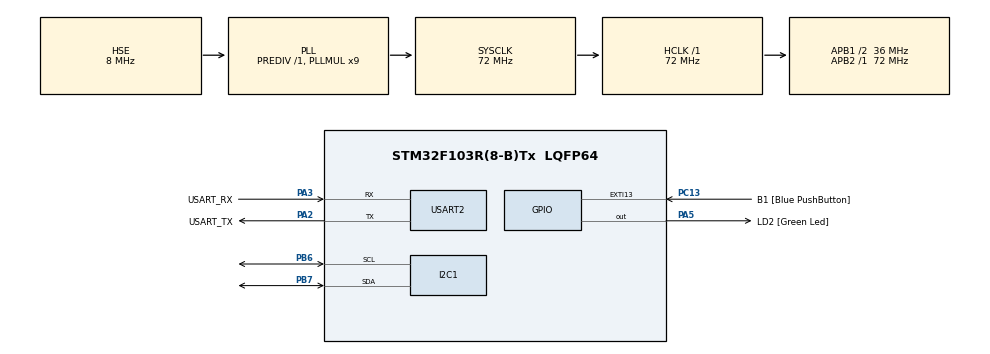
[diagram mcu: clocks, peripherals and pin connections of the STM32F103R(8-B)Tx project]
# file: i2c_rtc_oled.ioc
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I2C1.I2C_Mode=I2C_Fast
Mcu.Family=STM32F1
Mcu.Name=STM32F103R(8-B)Tx
Mcu.Package=LQFP64
NVIC.EXTI15_10_IRQn=true\:0\:0\:false\:false\:true\:true\:true\:true
NVIC.PriorityGroup=NVIC_PRIORITYGROUP_4
PA13.GPIO_Label=TMS
PA13.Mode=Serial_Wire
PA13.Signal=SYS_JTMS-SWDIO
PA14.GPIO_Label=TCK
PA14.Mode=Serial_Wire
PA14.Signal=SYS_JTCK-SWCLK
PA2.GPIO_Label=USART_TX
PA2.GPIO_Mode=GPIO_MODE_AF_PP
PA2.GPIO_PuPd=GPIO_NOPULL
PA2.GPIO_Speed=GPIO_SPEED_FREQ_LOW
PA2.Mode=Asynchronous
PA2.Signal=USART2_TX
PA3.GPIO_Label=USART_RX
PA3.GPIO_Mode=GPIO_MODE_AF_PP
PA3.GPIO_PuPd=GPIO_NOPULL
PA3.GPIO_Speed=GPIO_SPEED_FREQ_LOW
PA3.Mode=Asynchronous
PA3.Signal=USART2_RX
PA5.GPIO_Label=LD2 [Green Led]
PA5.GPIO_ModeDefaultOutputPP=GPIO_MODE_OUTPUT_PP
PA5.GPIO_PuPd=GPIO_NOPULL
PA5.GPIO_Speed=GPIO_SPEED_FREQ_LOW
PA5.Signal=GPIO_Output
PB3.GPIO_Label=SWO
PB3.Signal=SYS_JTDO-TRACESWO
PB6.Mode=I2C
PB6.Signal=I2C1_SCL
PB7.Mode=I2C
PB7.Signal=I2C1_SDA
PC13-TAMPER-RTC.GPIO_Label=B1 [Blue PushButton]
PC13-TAMPER-RTC.GPIO_PuPd=GPIO_NOPULL
PC13-TAMPER-RTC.Signal=GPXTI13
PC14-OSC32_IN.Mode=LSE-External-Oscillator
PC14-OSC32_IN.Signal=RCC_OSC32_IN
PC15-OSC32_OUT.Mode=LSE-External-Oscillator
PC15-OSC32_OUT.Signal=RCC_OSC32_OUT
PD0-OSC_IN.Mode=HSE-External-Clock-Source
PD0-OSC_IN.Signal=RCC_OSC_IN
PD1-OSC_OUT.Mode=HSE-External-Clock-Source
PD1-OSC_OUT.Signal=RCC_OSC_OUT
ProjectManager.HeapSize=0x200
ProjectManager.StackSize=0x400
ProjectManager.TargetToolchain=STM32CubeIDE
RCC.AHBFreq_Value=72000000
RCC.APB1CLKDivider=RCC_HCLK_DIV2
RCC.APB1Freq_Value=36000000
RCC.APB1TimFreq_Value=72000000
RCC.APB2Freq_Value=72000000
RCC.APB2TimFreq_Value=72000000
RCC.HCLKFreq_Value=72000000
RCC.PLLMUL=RCC_PLL_MUL9
RCC.PLLSourceVirtual=RCC_PLLSOURCE_HSE
RCC.RTCClockSelection=RCC_RTCCLKSOURCE_LSE
RCC.SYSCLKFreq_VALUE=72000000
RCC.SYSCLKSource=RCC_SYSCLKSOURCE_PLLCLK
RCC.USBFreq_Value=72000000
USART2.VirtualMode=VM_ASYNC
board=NUCLEO-F103RB

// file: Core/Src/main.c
/* USER CODE BEGIN Header */
/**
  ******************************************************************************
  * @file           : main.c
  * @brief          : Main program body
  ******************************************************************************
  * @attention
  *
  * Copyright (c) 2025 STMicroelectronics.
  * All rights reserved.
  *
  * This software is licensed under terms that can be found in the LICENSE file
  * in the root directory of this software component.
  * If no LICENSE file comes with this software, it is provided AS-IS.
  *
  ******************************************************************************
  */
/* USER CODE END Header */
#include "main.h"
#include "stm32f1xx_hal.h"
#include "ssd1306.h"
#include "fonts.h"
#include <stdio.h>

#define SET_RTC

#define DS3231_ADDR (0x68 << 1) // DS3231 I2C address (write/read shifted)
#define DS3231_REG_TIME 0x00    // seconds register
#define DS3231_REG_DATE 0x03    // day-of-week register

I2C_HandleTypeDef hi2c1;
UART_HandleTypeDef huart2;

/* USER CODE BEGIN PV */
// Buffer and time variables
char line1[20], line2[24];
uint8_t hour, min, sec, day, month, dow;
uint16_t year;
const char* dow_str[] = {"Sun", "Mon", "Tue", "Wed", "Thu", "Fri", "Sat"};
/* USER CODE END PV */

void SystemClock_Config(void);
static void MX_GPIO_Init(void);
static void MX_USART2_UART_Init(void);
static void MX_I2C1_Init(void);

/* USER CODE BEGIN PFP */
// Convert BCD to decimal
static uint8_t bcd2dec(uint8_t val) {
	return (uint8_t)(((val >> 4) * 10) + (val & 0x0F));
}
// Convert decimal to BCD
#ifdef SET_RTC
static uint8_t dec2bcd(uint8_t val) {
  return (uint8_t)(((val / 10) << 4) | (val % 10));
}

// Write date & time int DS3231 (one-time initialization)
static void DS3231_SetTime(uint8_t h, uint8_t m, uint8_t s) {
	uint8_t t[3] = {
			dec2bcd(s),  // Seconds
			dec2bcd(m),  // Minutes
			dec2bcd(h),  // Hours
	};
	HAL_I2C_Mem_Write(&hi2c1, DS3231_ADDR, DS3231_REG_TIME, I2C_MEMADD_SIZE_8BIT, t, 3, HAL_MAX_DELAY);
}

static void DS3231_SetDate(uint8_t W, uint8_t D, uint8_t M, uint8_t Y) {
	uint8_t d[4] = {
			dec2bcd(W),  // Day-of-week
			dec2bcd(D),  // Date
			dec2bcd(M),  // Month
			dec2bcd(Y)   // Year (00-99)
	};
	HAL_I2C_Mem_Write(&hi2c1, DS3231_ADDR, DS3231_REG_DATE, I2C_MEMADD_SIZE_8BIT, d, 4, HAL_MAX_DELAY);
}
#endif

// Read time (hh:mm:ss) from DS3231
static void DS3231_GetTime(uint8_t* h, uint8_t* m, uint8_t* s) {
	uint8_t b[3];
	if (HAL_I2C_Mem_Read(&hi2c1, DS3231_ADDR, DS3231_REG_TIME, I2C_MEMADD_SIZE_8BIT, b, 3, HAL_MAX_DELAY) == HAL_OK) {
		*s = bcd2dec(b[0] & 0x7F);
		*m = bcd2dec(b[1] & 0x7F);
		*h = bcd2dec(b[2] & 0x3F);
	} else {
		*h = *m = *s = 0;
	}
}
// Read date and day-of-week
static void DS3231_GetDate(uint8_t* D, uint8_t* M, uint16_t* Y, uint8_t* W) {
	uint8_t b[4];
	if (HAL_I2C_Mem_Read(&hi2c1, DS3231_ADDR, DS3231_REG_DATE, I2C_MEMADD_SIZE_8BIT, b, 4, HAL_MAX_DELAY) == HAL_OK) {
		*W = bcd2dec(b[0]);         // Day-of-week
		*D = bcd2dec(b[1] & 0x3F);  // Date
		*M = bcd2dec(b[2] & 0x1F);  // Month
		*Y = 2000 + bcd2dec(b[3]);  // Year
	} else {
		*W = *D = *M = 0;
		*Y = 2000;
	}
}
/* USER CODE END PFP */

int main(void)
{

  /* MCU Configuration--------------------------------------------------------*/

  /* Reset of all peripherals, Initializes the Flash interface and the Systick. */
  HAL_Init();

  /* Configure the system clock */
  SystemClock_Config();

  /* Initialize all configured peripherals */
  MX_GPIO_Init();
  MX_USART2_UART_Init();
  MX_I2C1_Init();
  /* USER CODE BEGIN 2 */
  // Initialize OLED display
  SSD1306_Init();
  /* USER CODE END 2 */
  // To set RTC once, define SET_RTC and uncomment:
#ifdef SET_RTC
  // example: 2025-08-07 17:45:30, Thursday(4)
  DS3231_SetTime(17, 45, 30);
  DS3231_SetDate(5, 7, 8, 25);
  HAL_Delay(500);
#endif
  /* Infinite loop */
  while (1)
  {
	  // Read time and date from DS3231
	  DS3231_GetTime(&hour, &min, &sec);
	  DS3231_GetDate(&day, &month, &year, &dow);

	  // Format strings for display
	  sprintf(line1, "%02d:%02d:%02d", hour, min, sec);
	  sprintf(line2, "%02d-%02d-%04d %s", day, month, year, dow_str[(dow>=1 && dow<=7)?dow-1:0]);

	  // Update OLED screen
	  SSD1306_Fill(SSD1306_COLOR_BLACK);
	  SSD1306_GotoXY(0, 0);
	  SSD1306_Puts(line1, &Font_11x18, SSD1306_COLOR_WHITE);
	  SSD1306_GotoXY(0, 24);
	  SSD1306_Puts(line2, &Font_7x10, SSD1306_COLOR_WHITE);
	  SSD1306_UpdateScreen();

	  HAL_Delay(1000);
  }
}

void SystemClock_Config(void)
{
  RCC_OscInitTypeDef RCC_OscInitStruct = {0};
  RCC_ClkInitTypeDef RCC_ClkInitStruct = {0};

  /** Initializes the RCC Oscillators according to the specified parameters
  * in the RCC_OscInitTypeDef structure.
  */
  RCC_OscInitStruct.OscillatorType = RCC_OSCILLATORTYPE_HSE;
  RCC_OscInitStruct.HSEState = RCC_HSE_BYPASS;
  RCC_OscInitStruct.HSEPredivValue = RCC_HSE_PREDIV_DIV1;
  RCC_OscInitStruct.HSIState = RCC_HSI_ON;
  RCC_OscInitStruct.PLL.PLLState = RCC_PLL_ON;
  RCC_OscInitStruct.PLL.PLLSource = RCC_PLLSOURCE_HSE;
  RCC_OscInitStruct.PLL.PLLMUL = RCC_PLL_MUL9;
  if (HAL_RCC_OscConfig(&RCC_OscInitStruct) != HAL_OK)
  {
    Error_Handler();
  }

  /** Initializes the CPU, AHB and APB buses clocks
  */
  RCC_ClkInitStruct.ClockType = RCC_CLOCKTYPE_HCLK|RCC_CLOCKTYPE_SYSCLK
                              |RCC_CLOCKTYPE_PCLK1|RCC_CLOCKTYPE_PCLK2;
  RCC_ClkInitStruct.SYSCLKSource = RCC_SYSCLKSOURCE_PLLCLK;
  RCC_ClkInitStruct.AHBCLKDivider = RCC_SYSCLK_DIV1;
  RCC_ClkInitStruct.APB1CLKDivider = RCC_HCLK_DIV2;
  RCC_ClkInitStruct.APB2CLKDivider = RCC_HCLK_DIV1;

  if (HAL_RCC_ClockConfig(&RCC_ClkInitStruct, FLASH_LATENCY_2) != HAL_OK)
  {
    Error_Handler();
  }
}

static void MX_I2C1_Init(void)
{

  hi2c1.Instance = I2C1;
  hi2c1.Init.ClockSpeed = 400000;
  hi2c1.Init.DutyCycle = I2C_DUTYCYCLE_2;
  hi2c1.Init.OwnAddress1 = 0;
  hi2c1.Init.AddressingMode = I2C_ADDRESSINGMODE_7BIT;
  hi2c1.Init.DualAddressMode = I2C_DUALADDRESS_DISABLE;
  hi2c1.Init.OwnAddress2 = 0;
  hi2c1.Init.GeneralCallMode = I2C_GENERALCALL_DISABLE;
  hi2c1.Init.NoStretchMode = I2C_NOSTRETCH_DISABLE;
  if (HAL_I2C_Init(&hi2c1) != HAL_OK)
  {
    Error_Handler();
  }

}

static void MX_USART2_UART_Init(void)
{

  huart2.Instance = USART2;
  huart2.Init.BaudRate = 115200;
  huart2.Init.WordLength = UART_WORDLENGTH_8B;
  huart2.Init.StopBits = UART_STOPBITS_1;
  huart2.Init.Parity = UART_PARITY_NONE;
  huart2.Init.Mode = UART_MODE_TX_RX;
  huart2.Init.HwFlowCtl = UART_HWCONTROL_NONE;
  huart2.Init.OverSampling = UART_OVERSAMPLING_16;
  if (HAL_UART_Init(&huart2) != HAL_OK)
  {
    Error_Handler();
  }

}

static void MX_GPIO_Init(void)
{
  GPIO_InitTypeDef GPIO_InitStruct = {0};

  /* GPIO Ports Clock Enable */
  __HAL_RCC_GPIOC_CLK_ENABLE();
  __HAL_RCC_GPIOD_CLK_ENABLE();
  __HAL_RCC_GPIOA_CLK_ENABLE();
  __HAL_RCC_GPIOB_CLK_ENABLE();

  /*Configure GPIO pin Output Level */
  HAL_GPIO_WritePin(LD2_GPIO_Port, LD2_Pin, GPIO_PIN_RESET);

  /*Configure GPIO pin : B1_Pin */
  GPIO_InitStruct.Pin = B1_Pin;
  GPIO_InitStruct.Mode = GPIO_MODE_IT_RISING;
  GPIO_InitStruct.Pull = GPIO_NOPULL;
  HAL_GPIO_Init(B1_GPIO_Port, &GPIO_InitStruct);

  /*Configure GPIO pin : LD2_Pin */
  GPIO_InitStruct.Pin = LD2_Pin;
  GPIO_InitStruct.Mode = GPIO_MODE_OUTPUT_PP;
  GPIO_InitStruct.Pull = GPIO_NOPULL;
  GPIO_InitStruct.Speed = GPIO_SPEED_FREQ_LOW;
  HAL_GPIO_Init(LD2_GPIO_Port, &GPIO_InitStruct);

  /* EXTI interrupt init*/
  HAL_NVIC_SetPriority(EXTI15_10_IRQn, 0, 0);
  HAL_NVIC_EnableIRQ(EXTI15_10_IRQn);

}

void Error_Handler(void)
{
  __disable_irq();
  while (1)
  {
  }
}
